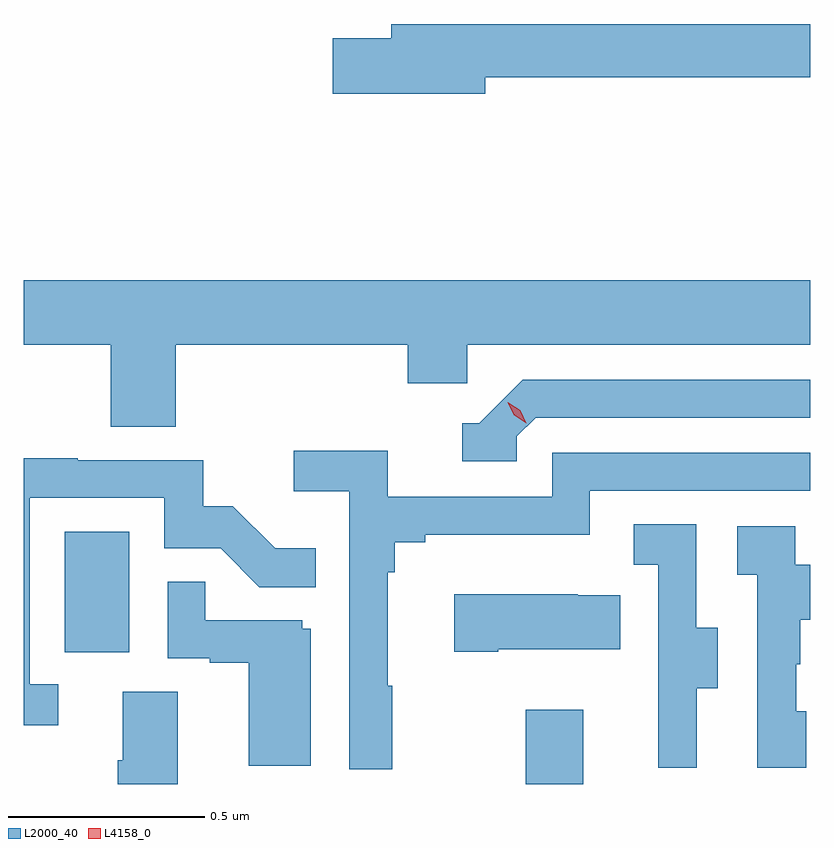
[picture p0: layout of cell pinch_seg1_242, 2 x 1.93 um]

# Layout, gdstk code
import gdstk
lib = gdstk.Library(unit=1e-6, precision=1e-09)
def R(c, l, rs):  # rectangles x0, y0, x1, y1
    for r in rs: c.add(gdstk.rectangle(r[:2], r[2:], *l))
def P(c, l, *ps):  # polygons
    for p in ps: c.add(gdstk.Polygon(p, *l))
L2000_40 = (2000, 40)
L4158_0 = (4158, 0)

pinch_seg1_242 = lib.new_cell('pinch_seg1_242')
R(pinch_seg1_242, L2000_40, [(905.086,579.919,905.233,580.108), (903.914,580.254,904.078,580.561)])
P(pinch_seg1_242, L2000_40, [(904.984,581.716),(905.81,581.716),(905.81,581.852),(904.745,581.852),(904.745,581.816),(904.596,581.816),(904.596,581.674),(904.984,581.674)],
  [(904.196,581.036),(904.787,581.036),(904.787,580.938),(904.938,580.938),(904.938,581.036),(905.81,581.036),(905.81,581.2),(903.81,581.2),(903.81,581.036),(904.031,581.036),(904.031,580.828),(904.196,580.828)],
  [(905.064,580.803),(905.112,580.851),(905.81,580.851),(905.81,580.947),(905.079,580.947),(904.968,580.836),(904.925,580.836),(904.925,580.74),(905.064,580.74)],
  [(904.747,580.169),(904.735,580.169),(904.735,580.457),(904.754,580.457),(904.754,580.534),(904.831,580.534),(904.831,580.553),(905.25,580.553),(905.25,580.665),(905.81,580.665),(905.81,580.761),(905.154,580.761),(905.154,580.65),(904.736,580.65),(904.736,580.766),(904.497,580.766),(904.497,580.664),(904.638,580.664),(904.638,579.957),(904.747,579.957)],
  [(903.898,580.173),(903.825,580.173),(903.825,580.647),(904.167,580.647),(904.167,580.518),(904.311,580.518),(904.409,580.42),(904.553,580.42),(904.553,580.519),(904.449,580.519),(904.342,580.626),(904.266,580.626),(904.266,580.743),(903.947,580.743),(903.947,580.748),(903.81,580.748),(903.81,580.068),(903.898,580.068)],
  [(905.521,580.162),(905.575,580.162),(905.575,580.317),(905.52,580.317),(905.52,580.58),(905.361,580.58),(905.361,580.477),(905.424,580.477),(905.424,580.173),(905.423,580.173),(905.423,579.96),(905.521,579.96)],
  [(905.8,580.104),(905.775,580.104),(905.775,580.223),(905.785,580.223),(905.785,580.337),(905.81,580.337),(905.81,580.477),(905.772,580.477),(905.772,580.575),(905.625,580.575),(905.625,580.451),(905.676,580.451),(905.676,579.96),(905.8,579.96)],
  [(904.54,580.314),(904.518,580.314),(904.518,580.335),(904.271,580.335),(904.271,580.433),(904.176,580.433),(904.176,580.239),(904.283,580.239),(904.283,580.227),(904.382,580.227),(904.382,579.966),(904.54,579.966)],
  [(905.017,580.262),(905.327,580.262),(905.327,580.399),(905.219,580.399),(905.219,580.402),(904.905,580.402),(904.905,580.255),(905.017,580.255)],
  [(904.201,580.154),(904.061,580.154),(904.061,579.98),(904.049,579.98),(904.049,579.919),(904.201,579.919)])
P(pinch_seg1_242, L4158_0, [(905.088,580.837),(905.057,580.857),(905.041,580.889),(905.041,580.89),(905.041,580.89),(905.072,580.87),(905.088,580.837),(905.088,580.837)])

lib.write_gds('pinch_seg1_242.gds')
